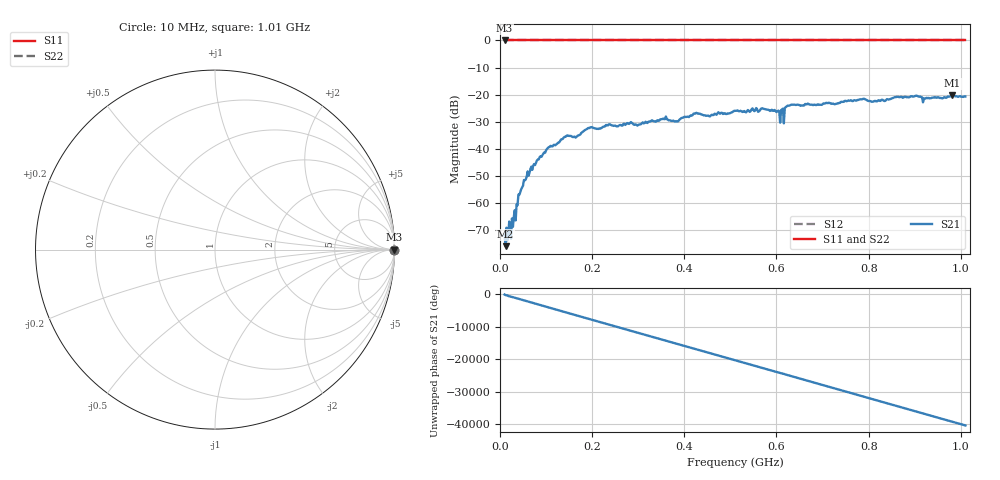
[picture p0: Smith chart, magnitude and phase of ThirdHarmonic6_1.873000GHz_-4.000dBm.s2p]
! 8/16/2025 10:38:03 PM
! C:\ANRITSUVNA\TEMP\TEMP.S2P
! CHANNEL.1
! TR.MEASUREMENT
! RAW.DATA
! RF.CORRECTION.OFF
! AVERAGING.OFF
! IF.BANDWIDTH: 5KHZ
! SWEEPTYPE:  FREQ.SWEEP(Linear)
! Reference Plane Port Info
! PORT:  PORT1  PORT2
! DISTANCE:  0  m  0  m
! TIME:  0  s  0  s
! PHASE.OFFSET:  0  deg.  0  deg.
! LOSS:  0  dB  0  dB
! REF.LOSS:  0  dB  0  dB
! REF.FREQ:  0  Hz  0  Hz
! Power Info
! POWER:  -20  dBm  -20  dBm
! EFF.POWER:  -20  dBm  -20  dBm
! SOURCE.ATTEN:  0  dB  0  dB
! TEST.ATTEN:  0  dB  0  dB
# GHZ S RI R 50.0
! FREQ.GHZ  S11RE  S11IM  S21RE  S21IM  S12RE  S12IM  S22RE  S22IM
!; PortSelection: Port_12
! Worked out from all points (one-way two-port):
!   501 points, 10 MHz to 1.01 GHz, reference 50 ohm
!   highest |S21| = -20.28 dB at 982 MHz (marker M1); lowest = -75.9 dB at 12 MHz (marker M2)
!   lowest |S11| = 0.0 dB at 10 MHz (marker M3)
!   |S11| at or under -10 dB: nowhere
!   |S22| runs from 0.0 to 0.0 dB; largest |S21 - S12| = 1.1
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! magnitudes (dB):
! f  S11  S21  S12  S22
! 10 MHz  0.0  -71.6  0.0  0.0
! 12 MHz  0.0  -75.9  0.0  0.0
! 26 MHz  0.0  -65.7  0.0  0.0
! 44 MHz  0.0  -56.0  0.0  0.0
! 56 MHz  0.0  -51.3  0.0  0.0
! 70 MHz  0.0  -47.8  0.0  0.0
! 106 MHz  0.0  -39.4  0.0  0.0
! 142 MHz  0.0  -35.6  0.0  0.0
! 178 MHz  0.0  -33.9  0.0  0.0
! 196 MHz  0.0  -32.1  0.0  0.0
! 344 MHz  0.0  -29.7  0.0  0.0
! 382 MHz  0.0  -29.8  0.0  0.0
! 424 MHz  0.0  -27.0  0.0  0.0
! 452 MHz  0.0  -27.8  0.0  0.0
! 510 MHz  0.0  -25.9  0.0  0.0
! 572 MHz  0.0  -25.2  0.0  0.0
! 612 MHz  0.0  -25.6  0.0  0.0
! 628 MHz  0.0  -24.1  0.0  0.0
! 678 MHz  0.0  -23.8  0.0  0.0
! 844 MHz  0.0  -21.8  0.0  0.0
! 982 MHz  0.0  -20.3  0.0  0.0
! 1.01 GHz  0.0  -20.7  0.0  0.0
